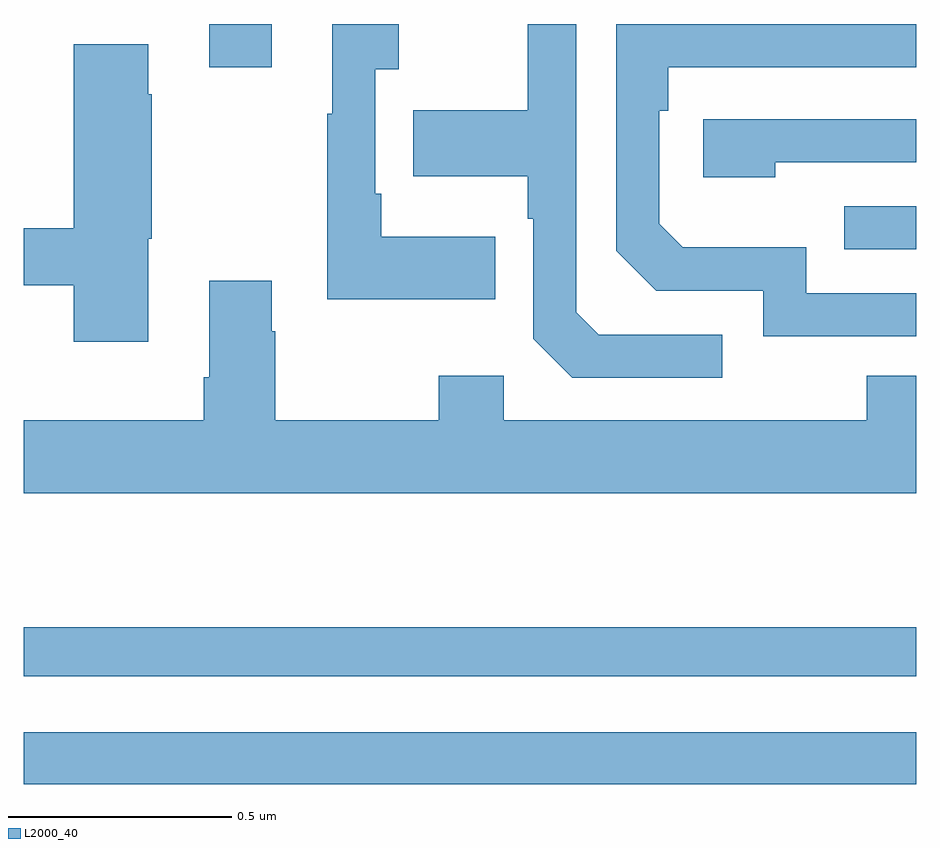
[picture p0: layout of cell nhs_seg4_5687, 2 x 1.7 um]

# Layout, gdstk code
import gdstk
lib = gdstk.Library(unit=1e-6, precision=1e-09)
def R(c, l, rs):  # rectangles x0, y0, x1, y1
    for r in rs: c.add(gdstk.rectangle(r[:2], r[2:], *l))
def P(c, l, *ps):  # polygons
    for p in ps: c.add(gdstk.Polygon(p, *l))
L2000_40 = (2000, 40)

nhs_seg4_5687 = lib.new_cell('nhs_seg4_5687')
R(nhs_seg4_5687, L2000_40, [(181,768.196,183,768.312), (181,768.438,183,768.547), (182.839,769.395,183,769.491), (181.415,769.803,181.555,769.9)])
P(nhs_seg4_5687, L2000_40, [(182.566,769.203),(182.289,769.203),(182.238,769.254),(182.238,769.9),(182.13,769.9),(182.13,769.707),(181.873,769.707),(181.873,769.559),(182.13,769.559),(182.13,769.463),(182.142,769.463),(182.142,769.194),(182.229,769.107),(182.566,769.107)],
  [(182.057,769.423),(181.801,769.423),(181.801,769.519),(181.788,769.519),(181.788,769.799),(181.84,769.799),(181.84,769.9),(181.691,769.9),(181.691,769.699),(181.68,769.699),(181.68,769.283),(182.057,769.283)],
  [(183,769.296),(182.754,769.296),(182.754,769.399),(182.477,769.399),(182.424,769.452),(182.424,769.706),(182.444,769.706),(182.444,769.803),(183,769.803),(183,769.899),(182.735,769.899),(182.735,769.9),(182.623,769.9),(182.623,769.899),(182.328,769.899),(182.328,769.392),(182.418,769.302),(182.658,769.302),(182.658,769.2),(183,769.2)],
  [(181.279,769.419),(181.287,769.419),(181.287,769.742),(181.279,769.742),(181.279,769.855),(181.112,769.855),(181.112,769.442),(181,769.442),(181,769.314),(181.112,769.314),(181.112,769.188),(181.279,769.188)],
  [(182.684,769.59),(183,769.59),(183,769.686),(182.523,769.686),(182.523,769.556),(182.684,769.556)],
  [(183,769.111),(182.89,769.111),(182.89,769.012),(182.076,769.012),(182.076,769.111),(181.93,769.111),(181.93,769.012),(181.563,769.012),(181.563,769.211),(181.555,769.211),(181.555,769.324),(181.415,769.324),(181.415,769.108),(181.403,769.108),(181.403,769.012),(181,769.012),(181,768.848),(183,768.848)])

lib.write_gds('nhs_seg4_5687.gds')
